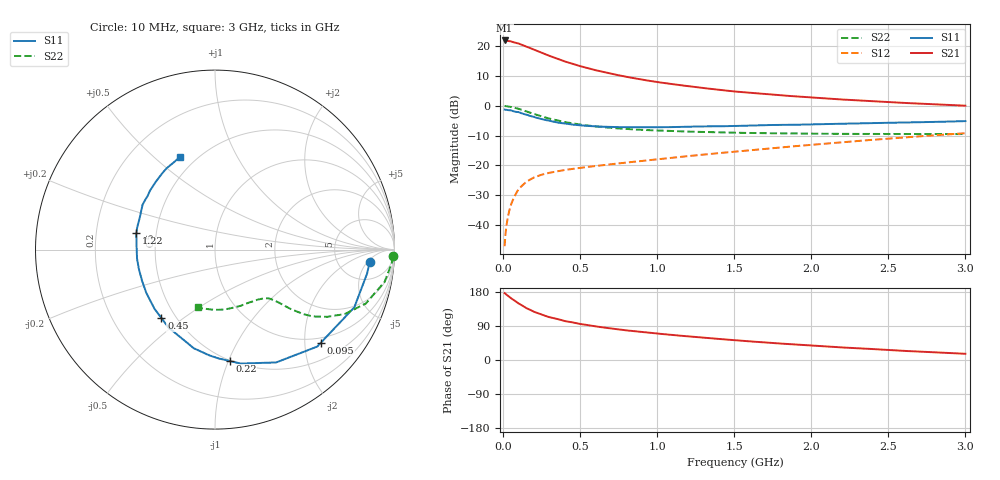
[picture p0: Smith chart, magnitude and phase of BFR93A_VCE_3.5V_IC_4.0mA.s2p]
! Infineon Technologies  Discrete & RF Semiconductors
! BFR93A
! VCE =  3.5 V,  IC =  4.0 mA
! Common Emitter S-Parameters:  Nov 2015
# GHz  S  MA  R  50
!  f  S11  S21  S12  S22
! GHz  MAG  ANG  MAG  ANG  MAG  ANG  MAG  ANG
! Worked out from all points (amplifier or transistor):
!   180 points, 10 MHz to 3 GHz, reference 50 ohm
!   highest |S21| = 21.9 dB at 10 MHz (marker M1)
!   |S21| within 3 dB of that: start of sweep to 197.2 MHz
!   unconditionally stable (mu >= 1): 803.5 MHz to 2.738 GHz
!   at 160 MHz: K = 0.29, MSG = 22.5 dB, |S12| = -25.3 dB
!   at 1.22 GHz: K = 1.12, MAG = 9.5 dB, |S12| = -16.8 dB
!   at 3 GHz: K = 0.97, MSG = 4.6 dB, |S12| = -9.2 dB
!   S11 on the Smith chart (normalised r, x): 10 MHz: 11, -6; 95 MHz: 0.88, -2.37; 220 MHz: 0.49, -1.01; 450 MHz: 0.42, -0.42; 1.22 GHz: 0.39, +0.09; 3 GHz: 0.41, +0.61
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0.01  0.8648 -4.6  12.5 176.5  0.0044 86.9  0.9909 -2.2
0.025  0.8515 -11.2  12.35 171.5  0.011 82.3  0.9824 -5.4
0.05  0.8401 -22.5  12.09 163.4  0.0213 78.2  0.9623 -10.7
0.095  0.7856 -41.3  11.19 150.9  0.0377 68.7  0.8983 -18.7
0.1  0.7851 -43.5  11.13 149.4  0.0396 68.1  0.8924 -19.7
0.15  0.715 -61.6  9.922 137.1  0.0527 60.1  0.8071 -26.4
0.2  0.6508 -77.3  8.79 127.4  0.0625 54.9  0.7297 -30.9
0.22  0.6261 -82.5  8.358 124.4  0.0653 53.2  0.7028 -32.1
0.26  0.5904 -93.0  7.58 118.2  0.0708 50.5  0.6525 -34.6
0.3  0.5623 -102.1  6.904 113.0  0.075 48.8  0.6104 -36.1
0.4  0.5052 -121.0  5.556 102.8  0.0837 46.6  0.5327 -38.2
0.45  0.4843 -128.1  5.081 99.3  0.0873 46.3  0.5079 -38.7
0.52  0.4661 -138.0  4.492 93.9  0.0922 46.2  0.4764 -39.4
0.6  0.4524 -147.8  3.959 88.6  0.0976 46.5  0.449 -40.1
0.7  0.4417 -157.3  3.453 83.0  0.1047 47.7  0.4255 -41.0
0.9  0.4373 -173.4  2.75 74.0  0.1186 49.9  0.394 -43.4
1.02  0.4367 178.9  2.462 69.1  0.1278 51.1  0.3829 -45.2
1.22  0.4474 168.2  2.107 61.6  0.1447 52.7  0.3675 -49.2
1.52  0.4591 154.8  1.723 51.7  0.1715 54.4  0.3525 -56.2
2.02  0.4892 137.5  1.37 37.7  0.2235 54.6  0.34 -70.6
2.52  0.5204 123.3  1.148 26.1  0.2839 52.0  0.3359 -87.4
3  0.5534 110.5  1.004 16.4  0.3467 47.7  0.3359 -106.4
